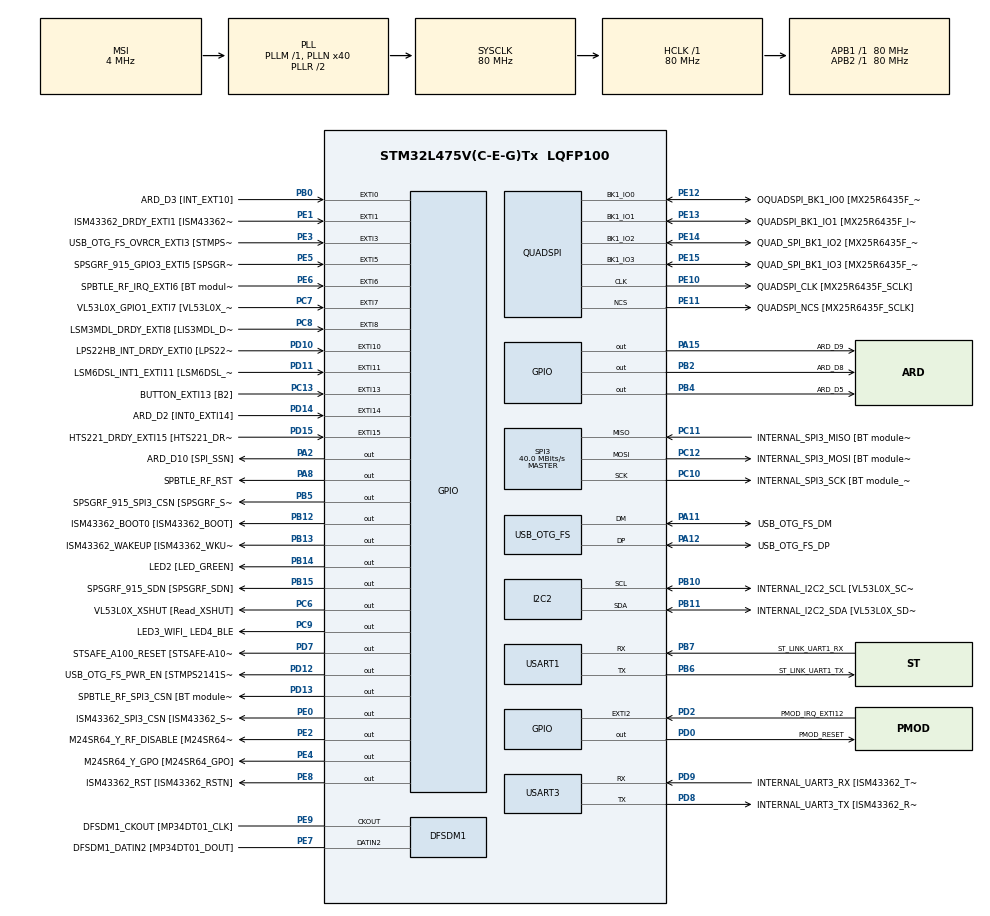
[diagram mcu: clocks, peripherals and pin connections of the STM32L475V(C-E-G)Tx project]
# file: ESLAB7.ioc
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Mcu.Family=STM32L4
Mcu.Name=STM32L475V(C-E-G)Tx
Mcu.Package=LQFP100
NVIC.EXTI15_10_IRQn=true\:0\:0\:false\:false\:true\:true\:true\:true
NVIC.EXTI9_5_IRQn=true\:0\:0\:false\:false\:true\:true\:true\:true
NVIC.PriorityGroup=NVIC_PRIORITYGROUP_4
PA0.GPIO_Label=ARD_D1 [UART4_TX]
PA0.Signal=UART4_TX
PA1.GPIO_Label=ARD_D0 [UART4_RX]
PA1.Signal=UART4_RX
PA10.GPIO_Label=USB_OTG_FS_ID
PA10.Signal=USB_OTG_FS_ID
PA11.GPIO_Label=USB_OTG_FS_DM
PA11.Mode=Device_Only
PA11.Signal=USB_OTG_FS_DM
PA12.GPIO_Label=USB_OTG_FS_DP
PA12.Mode=Device_Only
PA12.Signal=USB_OTG_FS_DP
PA13\ (JTMS-SWDIO).GPIO_Label=SYS_JTMS_SWDIO
PA13\ (JTMS-SWDIO).Mode=Serial_Wire
PA13\ (JTMS-SWDIO).Signal=SYS_JTMS-SWDIO
PA14\ (JTCK-SWCLK).GPIO_Label=SYS_JTCK_SWCLK
PA14\ (JTCK-SWCLK).Mode=Serial_Wire
PA14\ (JTCK-SWCLK).Signal=SYS_JTCK-SWCLK
PA15\ (JTDI).GPIO_Label=ARD_D9
PA15\ (JTDI).Signal=GPIO_Output
PA2.GPIO_Label=ARD_D10 [SPI_SSN]
PA2.Signal=GPIO_Output
PA3.GPIO_Label=ARD_D4
PA3.Signal=S_TIM2_CH4
PA4.GPIO_Label=ARD_D7
PA4.Signal=ADCx_IN9
PA5.GPIO_Label=ARD_D13 [SPI1_SCK]
PA5.Signal=SPI1_SCK
PA6.GPIO_Label=ARD_D12 [SPI1_MISO]
PA6.Signal=SPI1_MISO
PA7.GPIO_Label=ARD_D11 [SPI1_MOSI]
PA7.Signal=SPI1_MOSI
PA8.GPIO_Label=SPBTLE_RF_RST
PA8.Signal=GPIO_Output
PA9.GPIO_Label=USB_OTG_FS_VBUS [STMPS2141STR_OUT]
PA9.Signal=USB_OTG_FS_VBUS
PB0.GPIO_Label=ARD_D3 [INT_EXT10]
PB0.Signal=GPXTI0
PB1.GPIO_Label=ARD_D6 [ADC1_IN6]
PB1.Signal=ADCx_IN16
PB10.GPIO_Label=INTERNAL_I2C2_SCL [VL53L0X_SCL]
PB10.GPIO_Pu=GPIO_PULLUP
PB10.Mode=I2C
PB10.Signal=I2C2_SCL
PB11.GPIO_Label=INTERNAL_I2C2_SDA [VL53L0X_SDA]
PB11.GPIO_Pu=GPIO_PULLUP
PB11.Mode=I2C
PB11.Signal=I2C2_SDA
PB12.GPIO_Label=ISM43362_BOOT0 [ISM43362_BOOT]
PB12.Signal=GPIO_Output
PB13.GPIO_Label=ISM43362_WAKEUP [ISM43362_WKUP]
PB13.Signal=GPIO_Output
PB14.GPIO_Label=LED2 [LED_GREEN]
PB14.Signal=GPIO_Output
PB15.GPIO_Label=SPSGRF_915_SDN [SPSGRF_SDN]
PB15.Signal=GPIO_Output
PB2.GPIO_Label=ARD_D8
PB2.Signal=GPIO_Output
PB3\ (JTDO-TRACESWO).GPIO_Label=SYS_JTD0_SWO
PB3\ (JTDO-TRACESWO).Signal=SYS_JTDO-SWO
PB4\ (NJTRST).GPIO_Label=ARD_D5
PB4\ (NJTRST).Signal=GPIO_Output
PB5.GPIO_Label=SPSGRF_915_SPI3_CSN [SPSGRF_SPI_CS]
PB5.PinState=GPIO_PIN_SET
PB5.Signal=GPIO_Output
PB6.GPIO_Label=ST_LINK_UART1_TX
PB6.Mode=Asynchronous
PB6.Signal=USART1_TX
PB7.GPIO_Label=ST_LINK_UART1_RX
PB7.Mode=Asynchronous
PB7.Signal=USART1_RX
PB8.GPIO_Label=ARD_D15 [I2C1_SCL]
PB8.Signal=I2C1_SCL
PB9.GPIO_Label=ARD_D14 [I2C1_SDA]
PB9.Signal=I2C1_SDA
PC0.GPIO_Label=ARD_A5 [ADC]
PC0.Signal=ADCx_IN1
PC1.GPIO_Label=ARD_A4 [ADC]
PC1.Signal=ADCx_IN2
PC10.GPIO_Label=INTERNAL_SPI3_SCK [BT module_SPI_SCLK] [ISM43362_SCK]
PC10.Mode=Full_Duplex_Master
PC10.Signal=SPI3_SCK
PC11.GPIO_Label=INTERNAL_SPI3_MISO [BT module_SPI_MISO] [ISM43362_MISO]
PC11.Mode=Full_Duplex_Master
PC11.Signal=SPI3_MISO
PC12.GPIO_Label=INTERNAL_SPI3_MOSI [BT module_SPI_MOSI] [ISM43362_MOSI]
PC12.Mode=Full_Duplex_Master
PC12.Signal=SPI3_MOSI
PC13.GPIO_Label=BUTTON_EXTI13 [B2]
PC13.GPIO_ModeDefaultEXTI=GPIO_MODE_IT_FALLING
PC13.Signal=GPXTI13
PC14-OSC32_IN\ (PC14).Mode=LSE-External-Oscillator
PC14-OSC32_IN\ (PC14).Signal=RCC_OSC32_IN
PC15-OSC32_OUT\ (PC15).Mode=LSE-External-Oscillator
PC15-OSC32_OUT\ (PC15).Signal=RCC_OSC32_OUT
PC2.GPIO_Label=ARD_A3 [ADC]
PC2.Signal=ADCx_IN3
PC3.GPIO_Label=ARD_A2 [ADC]
PC3.Signal=ADCx_IN4
PC4.GPIO_Label=ARD_A1 [ADC]
PC4.Signal=ADCx_IN13
PC5.GPIO_Label=ARD_A0 [ADC]
PC5.Signal=ADCx_IN14
PC6.GPIO_Label=VL53L0X_XSHUT [Read_XSHUT]
PC6.Signal=GPIO_Output
PC7.GPIO_Label=VL53L0X_GPIO1_EXTI7 [VL53L0X_GPIO1]
PC7.Signal=GPXTI7
PC8.GPIO_Label=LSM3MDL_DRDY_EXTI8 [LIS3MDL_DRDY]
PC8.Signal=GPXTI8
PC9.GPIO_Label=LED3_WIFI_ LED4_BLE
PC9.Signal=GPIO_Output
PD0.GPIO_Label=PMOD_RESET
PD0.Signal=GPIO_Output
PD1.GPIO_Label=PMOD_SPI2_SCK
PD1.Signal=SPI2_SCK
PD10.GPIO_Label=LPS22HB_INT_DRDY_EXTI0 [LPS22HB_INT_DRDY] 
PD10.Signal=GPXTI10
PD11.GPIO_Label=LSM6DSL_INT1_EXTI11 [LSM6DSL_INT1]
PD11.Signal=GPXTI11
PD12.GPIO_Label=USB_OTG_FS_PWR_EN [STMPS2141STR_EN]
PD12.Signal=GPIO_Output
PD13.GPIO_Label=SPBTLE_RF_SPI3_CSN [BT module_SPI_CS]
PD13.PinState=GPIO_PIN_SET
PD13.Signal=GPIO_Output
PD14.GPIO_Label=ARD_D2 [INT0_EXTI14]
PD14.Signal=GPXTI14
PD15.GPIO_Label=HTS221_DRDY_EXTI15 [HTS221_DRDY]
PD15.Signal=GPXTI15
PD2.GPIO_Label=PMOD_IRQ_EXTI12
PD2.Signal=GPXTI2
PD3.GPIO_Label=PMOD_UART2_CTS
PD3.Signal=USART2_CTS
PD4.GPIO_Label=PMOD_UART2_RTS
PD4.Signal=USART2_RTS
PD5.GPIO_Label=PMOD_UART2_TX
PD5.Signal=USART2_TX
PD6.GPIO_Label=PMOD_UART2_RX
PD6.Signal=USART2_RX
PD7.GPIO_Label=STSAFE_A100_RESET [STSAFE-A100_RESET]
PD7.Signal=GPIO_Output
PD8.GPIO_Label=INTERNAL_UART3_TX [ISM43362_RX]
PD8.Mode=Asynchronous
PD8.Signal=USART3_TX
PD9.GPIO_Label=INTERNAL_UART3_RX [ISM43362_TX]
PD9.Mode=Asynchronous
PD9.Signal=USART3_RX
PE0.GPIO_Label=ISM43362_SPI3_CSN [ISM43362_SSN]
PE0.PinState=GPIO_PIN_SET
PE0.Signal=GPIO_Output
PE1.GPIO_Label=ISM43362_DRDY_EXTI1 [ISM43362_DATARDY]
PE1.Signal=GPXTI1
PE10.GPIO_Label=QUADSPI_CLK [MX25R6435F_SCLK]
PE10.Mode=Single Bank
PE10.Signal=QUADSPI_CLK
PE11.GPIO_Label=QUADSPI_NCS [MX25R6435F_SCLK]
PE11.Mode=Single Bank
PE11.Signal=QUADSPI_NCS
PE12.GPIO_Label=OQUADSPI_BK1_IO0 [MX25R6435F_IO0]
PE12.Mode=Single Bank
PE12.Signal=QUADSPI_BK1_IO0
PE13.GPIO_Label=QUADSPI_BK1_IO1 [MX25R6435F_IO1]
PE13.Mode=Single Bank
PE13.Signal=QUADSPI_BK1_IO1
PE14.GPIO_Label=QUAD_SPI_BK1_IO2 [MX25R6435F_IO2]
PE14.Mode=Single Bank
PE14.Signal=QUADSPI_BK1_IO2
PE15.GPIO_Label=QUAD_SPI_BK1_IO3 [MX25R6435F_IO3]
PE15.Mode=Single Bank
PE15.Signal=QUADSPI_BK1_IO3
PE2.GPIO_Label=M24SR64_Y_RF_DISABLE [M24SR64_RFDIS]
PE2.Signal=GPIO_Output
PE3.GPIO_Label=USB_OTG_FS_OVRCR_EXTI3 [STMPS2141STR_FAULT]
PE3.Signal=GPXTI3
PE4.GPIO_Label=M24SR64_Y_GPO [M24SR64_GPO]
PE4.Signal=GPIO_Output
PE5.GPIO_Label=SPSGRF_915_GPIO3_EXTI5 [SPSGRF_GPIO_3]
PE5.Signal=GPXTI5
PE6.GPIO_Label=SPBTLE_RF_IRQ_EXTI6 [BT module_SPI_IRQ]
PE6.Signal=GPXTI6
PE7.GPIO_Label=DFSDM1_DATIN2 [MP34DT01_DOUT]
PE7.Signal=S_DATAIN2DFSDM1
PE8.GPIO_Label=ISM43362_RST [ISM43362_RSTN]
PE8.Signal=GPIO_Output
PE9.GPIO_Label=DFSDM1_CKOUT [MP34DT01_CLK]
PE9.Signal=S_CKOUTDFSDM1
ProjectManager.HeapSize=0x200
ProjectManager.StackSize=0x400
ProjectManager.TargetToolchain=STM32CubeIDE
QUADSPI.ClockPrescaler=2
QUADSPI.FifoThreshold=4
QUADSPI.FlashSize=23
QUADSPI.SampleShifting=QSPI_SAMPLE_SHIFTING_HALFCYCLE
RCC.ADCFreq_Value=48000000
RCC.AHBFreq_Value=80000000
RCC.APB1Freq_Value=80000000
RCC.APB1TimFreq_Value=80000000
RCC.APB2Freq_Value=80000000
RCC.APB2TimFreq_Value=80000000
RCC.CortexFreq_Value=80000000
RCC.HCLKFreq_Value=80000000
RCC.HSE_VALUE=8000000
RCC.HSI_VALUE=16000000
RCC.MSI_VALUE=4000000
RCC.PLLN=40
RCC.PLLSAI1N=24
RCC.SYSCLKFreq_VALUE=80000000
RCC.SYSCLKSource=RCC_SYSCLKSOURCE_PLLCLK
RCC.USBFreq_Value=48000000
RCC.VCOOutputFreq_Value=160000000
SH.ADCx_IN1.0=ADC1_IN1
SH.ADCx_IN13.0=ADC1_IN13
SH.ADCx_IN14.0=ADC1_IN14
SH.ADCx_IN16.0=ADC1_IN16
SH.ADCx_IN2.0=ADC1_IN2
SH.ADCx_IN3.0=ADC1_IN3
SH.ADCx_IN4.0=ADC1_IN4
SH.ADCx_IN9.0=ADC1_IN9
SH.S_CKOUTDFSDM1.0=DFSDM1_CKOUT,CKOUT
SH.S_CKOUTDFSDM1.1=DFSDM1_CKOUT,PDM_SPI_Input_from_ch12_and_Internal_Clock
SH.S_DATAIN2DFSDM1.0=DFSDM1_DATIN2,PDM_SPI_Input_from_ch12_and_Internal_Clock
SH.S_TIM2_CH4.0=TIM2_CH4
SPI3.CalculateBaudRate=40.0 MBits/s
SPI3.Direction=SPI_DIRECTION_2LINES
SPI3.Mode=SPI_MODE_MASTER
SPI3.VirtualType=VM_MASTER
USART1.VirtualMode-Asynchronous=VM_ASYNC
USART3.VirtualMode-Asynchronous=VM_ASYNC
USB_OTG_FS.VirtualMode=Device_Only
board=B-L475E-IOT01A1

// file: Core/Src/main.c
/* USER CODE BEGIN Header */
/**
  ******************************************************************************
  * @file           : main.c
  * @brief          : Main program body
  ******************************************************************************
  * @attention
  *
  * Copyright (c) 2025 STMicroelectronics.
  * All rights reserved.
  *
  * This software is licensed under terms that can be found in the LICENSE file
  * in the root directory of this software component.
  * If no LICENSE file comes with this software, it is provided AS-IS.
  *
  ******************************************************************************
  */
/* USER CODE END Header */
#include "main.h"

/* USER CODE BEGIN Includes */
#include "stm32l475e_iot01.h"
#include "stm32l475e_iot01_tsensor.h"
#include "stm32l475e_iot01_accelero.h"
#include <math.h>
//#include "arm_math.h"
#include "math_helper.h"
/* USER CODE END Includes */

/* USER CODE BEGIN PD */
#define TEST_LENGTH_SAMPLES  320
#define SNR_THRESHOLD_F32    140.0f
#define BLOCK_SIZE            32
#define NUM_TAPS              29
#define SAMPLING_RATE         100
#define DATA_PER_LINE         2
/* USER CODE END PD */

DFSDM_Channel_HandleTypeDef hdfsdm1_channel1;

I2C_HandleTypeDef hi2c2;

QSPI_HandleTypeDef hqspi;

SPI_HandleTypeDef hspi3;

UART_HandleTypeDef huart1;
UART_HandleTypeDef huart3;

PCD_HandleTypeDef hpcd_USB_OTG_FS;

/* USER CODE BEGIN PV */
//float temp_value = 0;  // Measured temperature value
int16_t temp_xyz[3] = {0};  // Measured acceleration value
float32_t input_block_x[BLOCK_SIZE] = {0};  // A block of measured acceleration x value
float32_t input_block_y[BLOCK_SIZE] = {0};  // A block of measured acceleration y value
float32_t input_block_z[BLOCK_SIZE] = {0};  // A block of measured acceleration z value
float32_t output_block_x[BLOCK_SIZE] = {0};  // A block of filtered acceleration x value
float32_t output_block_y[BLOCK_SIZE] = {0};  // A block of filtered acceleration y value
float32_t output_block_z[BLOCK_SIZE] = {0};  // A block of filtered acceleration z value
char str_tmp[100] = ""; // Formatted message to display the temperature value
//char data_tmp[20] = ""; // Formatted message to display the acceleration value
//uint8_t msg1[] = "****** Temperature values measurement ******\n\n\r";
uint8_t msg1[] = "****** Acceleration values measurement ******\n\r";
//uint8_t msg2[] = "=====> Initialize Temperature sensor HTS221 \r\n";
uint8_t msg2[] = "=====> Initialize Acceleration sensor LSM6DSL \r\n";
//uint8_t msg3[] = "=====> Temperature sensor HTS221 initialized \r\n ";
uint8_t msg3[] = "=====> Acceleration sensor LSM6DSL initialized \r\n ";
uint8_t msg4[] = "\n\n\r****** Sample signal filtering ******\n\r";
uint8_t msg_success[] = "=====> Filtering succeeded \r\n ";
uint8_t msg_failure[] = "=====> Filtering failed \r\n ";
uint8_t msg5[] = "\n\n\r****** Sensor data filtering ******\n\r";
uint8_t msg_output1[] = "\n\r*** measured acceleration values {\"x\",\"y\",\"z\"} ***\n\r";
uint8_t msg_output2[] = "\n\r*** filtered acceleration values {\"x\",\"y\",\"z\"} ***\n\r";
uint8_t msg_nextline[] = "\n\r";
uint32_t sample_time = 1000/(SAMPLING_RATE);  // 1000ms/SAMPLING_RATE=10ms
uint32_t inblock_it = (BLOCK_SIZE)/(DATA_PER_LINE);  //iterations to print all data in one block
/* The input signal and reference output (computed with MATLAB) are defined externally in arm_fir_lpf_data.c. */
extern float32_t testInput_f32_1kHz_15kHz[TEST_LENGTH_SAMPLES];
extern float32_t refOutput[TEST_LENGTH_SAMPLES];
/* Declare Test output buffer */
static float32_t testOutput[TEST_LENGTH_SAMPLES];
/* Declare State buffer of size (numTaps + blockSize - 1) */
static float32_t firStateF32[BLOCK_SIZE + NUM_TAPS - 1];
static float32_t firXF32[BLOCK_SIZE + NUM_TAPS - 1];
static float32_t firYF32[BLOCK_SIZE + NUM_TAPS - 1];
static float32_t firZF32[BLOCK_SIZE + NUM_TAPS - 1];
/*  FIR Coefficients buffer generated using fir1() MATLAB function. fir1(28, 6/24) */
const float32_t firCoeffs32[NUM_TAPS] = {
  -0.0018225230f, -0.0015879294f, +0.0000000000f, +0.0036977508f, +0.0080754303f, +0.0085302217f, -0.0000000000f, -0.0173976984f,
  -0.0341458607f, -0.0333591565f, +0.0000000000f, +0.0676308395f, +0.1522061835f, +0.2229246956f, +0.2504960933f, +0.2229246956f,
  +0.1522061835f, +0.0676308395f, +0.0000000000f, -0.0333591565f, -0.0341458607f, -0.0173976984f, -0.0000000000f, +0.0085302217f,
  +0.0080754303f, +0.0036977508f, +0.0000000000f, -0.0015879294f, -0.0018225230f
};
/* Global variables for FIR LPF Example */
uint32_t blockSize = BLOCK_SIZE;
uint32_t numBlocks = TEST_LENGTH_SAMPLES/BLOCK_SIZE;
float32_t  snr;
/* USER CODE END PV */

void SystemClock_Config(void);
static void MX_GPIO_Init(void);
static void MX_DFSDM1_Init(void);
static void MX_I2C2_Init(void);
static void MX_QUADSPI_Init(void);
static void MX_SPI3_Init(void);
static void MX_USART1_UART_Init(void);
static void MX_USART3_UART_Init(void);
static void MX_USB_OTG_FS_PCD_Init(void);

int main(void)
{

  /* MCU Configuration--------------------------------------------------------*/

  /* Reset of all peripherals, Initializes the Flash interface and the Systick. */
  HAL_Init();

  /* Configure the system clock */
  SystemClock_Config();

  /* Initialize all configured peripherals */
  MX_GPIO_Init();
  MX_DFSDM1_Init();
  MX_I2C2_Init();
  MX_QUADSPI_Init();
  MX_SPI3_Init();
  MX_USART1_UART_Init();
  MX_USART3_UART_Init();
  MX_USB_OTG_FS_PCD_Init();
  /* USER CODE BEGIN 2 */

  //uint8_t Test[] = "Hello World !!!\r\n"; //Data to send
  //HAL_UART_Transmit(&huart1,Test,sizeof(Test),10);// Sending in normal mode
  //HAL_Delay(1000);

  HAL_UART_Transmit(&huart1,msg1,sizeof(msg1),1000);
  HAL_UART_Transmit(&huart1,msg2,sizeof(msg2),1000);
  //BSP_TSENSOR_Init();
  BSP_ACCELERO_Init();
  HAL_UART_Transmit(&huart1,msg3,sizeof(msg3),1000);

  uint32_t i;
  arm_fir_instance_f32 S;
  arm_status status;
  float32_t  *inputF32, *outputF32;

  /* Initialize input and output buffer pointers */
  inputF32 = &testInput_f32_1kHz_15kHz[0];
  outputF32 = &testOutput[0];

  /* Call FIR init function to initialize the instance structure */
  arm_fir_init_f32(&S, NUM_TAPS, (float32_t *)&firCoeffs32[0], &firStateF32[0], blockSize);

  /* Call the FIR process function for every blockSize samples */
  HAL_UART_Transmit(&huart1,msg4,sizeof(msg4),1000);
  for(i=0; i < numBlocks; i++)
  {
    arm_fir_f32(&S, inputF32 + (i * blockSize), outputF32 + (i * blockSize), blockSize);
  }

  /* Compare the generated output against the reference output computed in MATLAB. */

  snr = arm_snr_f32(&refOutput[0], &testOutput[0], TEST_LENGTH_SAMPLES);

  if (snr < SNR_THRESHOLD_F32)
  {
    status = ARM_MATH_TEST_FAILURE;
    HAL_UART_Transmit(&huart1,msg_failure,sizeof(msg_failure),1000);
  }
  else
  {
    status = ARM_MATH_SUCCESS;
    HAL_UART_Transmit(&huart1,msg_success,sizeof(msg_success),1000);
  }

  HAL_UART_Transmit(&huart1,msg5,sizeof(msg5),1000);
  uint32_t j;  // for loop variable
  arm_fir_instance_f32 Sx, Sy, Sz;
  arm_fir_init_f32(&Sx, NUM_TAPS, (float32_t *)&firCoeffs32[0], &firXF32[0], blockSize);
  arm_fir_init_f32(&Sy, NUM_TAPS, (float32_t *)&firCoeffs32[0], &firYF32[0], blockSize);
  arm_fir_init_f32(&Sz, NUM_TAPS, (float32_t *)&firCoeffs32[0], &firZF32[0], blockSize);
  /* USER CODE END 2 */

  /* Infinite loop */
  while (1)
  {

    /* USER CODE BEGIN 3 */

	//temp_value = BSP_TSENSOR_ReadTemp();
	//int tmpInt1 = temp_value;
	//float tmpFrac = temp_value - tmpInt1;
	//int tmpInt2 = trunc(tmpFrac * 100);
	//snprintf(str_tmp,100," TEMPERATURE = %d.%02d\n\r", tmpInt1, tmpInt2);
	//HAL_UART_Transmit(&huart1,( uint8_t *)str_tmp,sizeof(str_tmp),1000);

	//BSP_ACCELERO_AccGetXYZ(temp_xyz);
	//snprintf(str_tmp,100," ACCELERATION = {\"x\":%d,\"y\":%d,\"z\":%d}\n\r", temp_xyz[0], temp_xyz[1], temp_xyz[2]);
	//HAL_UART_Transmit(&huart1,( uint8_t *)str_tmp,sizeof(str_tmp),1000);
	//HAL_Delay(1000);

	for(i=0; i < BLOCK_SIZE; i++)
	{
		BSP_ACCELERO_AccGetXYZ(temp_xyz);
		input_block_x[i] = (float32_t)temp_xyz[0];
		input_block_y[i] = (float32_t)temp_xyz[1];
		input_block_z[i] = (float32_t)temp_xyz[2];
		HAL_Delay(sample_time);
	}
	arm_fir_f32(&Sx, &input_block_x[0], &output_block_x[0], blockSize);
	arm_fir_f32(&Sy, &input_block_y[0], &output_block_y[0], blockSize);
	arm_fir_f32(&Sz, &input_block_z[0], &output_block_z[0], blockSize);
	HAL_UART_Transmit(&huart1,msg_output1,sizeof(msg_output1),100);
	for(i=0; i < inblock_it; i++)
	{
		for(j=0; j < DATA_PER_LINE; j++)
		{
			snprintf(str_tmp,100,"{%.2lf,%.2lf,%.2lf} ", input_block_x[i*(DATA_PER_LINE)+j], input_block_y[i*(DATA_PER_LINE)+j], input_block_z[i*(DATA_PER_LINE)+j]);
			HAL_UART_Transmit(&huart1,( uint8_t *)str_tmp,sizeof(str_tmp),100);
		}
		HAL_UART_Transmit(&huart1,msg_nextline,sizeof(msg_nextline),100);
	}
	HAL_UART_Transmit(&huart1,msg_output2,sizeof(msg_output2),100);
	for(i=0; i < inblock_it; i++)
	{
		for(j=0; j < DATA_PER_LINE; j++)
		{
			snprintf(str_tmp,100,"{%.2lf,%.2lf,%.2lf} ", output_block_x[i*(DATA_PER_LINE)+j], output_block_y[i*(DATA_PER_LINE)+j], output_block_z[i*(DATA_PER_LINE)+j]);
			HAL_UART_Transmit(&huart1,( uint8_t *)str_tmp,sizeof(str_tmp),100);
		}
		HAL_UART_Transmit(&huart1,msg_nextline,sizeof(msg_nextline),100);
	}
  }
  /* USER CODE END 3 */
}

void SystemClock_Config(void)
{
  RCC_OscInitTypeDef RCC_OscInitStruct = {0};
  RCC_ClkInitTypeDef RCC_ClkInitStruct = {0};

  /** Configure the main internal regulator output voltage
  */
  if (HAL_PWREx_ControlVoltageScaling(PWR_REGULATOR_VOLTAGE_SCALE1) != HAL_OK)
  {
    Error_Handler();
  }

  /** Configure LSE Drive Capability
  */
  HAL_PWR_EnableBkUpAccess();
  __HAL_RCC_LSEDRIVE_CONFIG(RCC_LSEDRIVE_LOW);

  /** Initializes the RCC Oscillators according to the specified parameters
  * in the RCC_OscInitTypeDef structure.
  */
  RCC_OscInitStruct.OscillatorType = RCC_OSCILLATORTYPE_LSE|RCC_OSCILLATORTYPE_MSI;
  RCC_OscInitStruct.LSEState = RCC_LSE_ON;
  RCC_OscInitStruct.MSIState = RCC_MSI_ON;
  RCC_OscInitStruct.MSICalibrationValue = 0;
  RCC_OscInitStruct.MSIClockRange = RCC_MSIRANGE_6;
  RCC_OscInitStruct.PLL.PLLState = RCC_PLL_ON;
  RCC_OscInitStruct.PLL.PLLSource = RCC_PLLSOURCE_MSI;
  RCC_OscInitStruct.PLL.PLLM = 1;
  RCC_OscInitStruct.PLL.PLLN = 40;
  RCC_OscInitStruct.PLL.PLLP = RCC_PLLP_DIV7;
  RCC_OscInitStruct.PLL.PLLQ = RCC_PLLQ_DIV2;
  RCC_OscInitStruct.PLL.PLLR = RCC_PLLR_DIV2;
  if (HAL_RCC_OscConfig(&RCC_OscInitStruct) != HAL_OK)
  {
    Error_Handler();
  }

  /** Initializes the CPU, AHB and APB buses clocks
  */
  RCC_ClkInitStruct.ClockType = RCC_CLOCKTYPE_HCLK|RCC_CLOCKTYPE_SYSCLK
                              |RCC_CLOCKTYPE_PCLK1|RCC_CLOCKTYPE_PCLK2;
  RCC_ClkInitStruct.SYSCLKSource = RCC_SYSCLKSOURCE_PLLCLK;
  RCC_ClkInitStruct.AHBCLKDivider = RCC_SYSCLK_DIV1;
  RCC_ClkInitStruct.APB1CLKDivider = RCC_HCLK_DIV1;
  RCC_ClkInitStruct.APB2CLKDivider = RCC_HCLK_DIV1;

  if (HAL_RCC_ClockConfig(&RCC_ClkInitStruct, FLASH_LATENCY_4) != HAL_OK)
  {
    Error_Handler();
  }

  /** Enable MSI Auto calibration
  */
  HAL_RCCEx_EnableMSIPLLMode();
}

static void MX_DFSDM1_Init(void)
{

  hdfsdm1_channel1.Instance = DFSDM1_Channel1;
  hdfsdm1_channel1.Init.OutputClock.Activation = ENABLE;
  hdfsdm1_channel1.Init.OutputClock.Selection = DFSDM_CHANNEL_OUTPUT_CLOCK_SYSTEM;
  hdfsdm1_channel1.Init.OutputClock.Divider = 2;
  hdfsdm1_channel1.Init.Input.Multiplexer = DFSDM_CHANNEL_EXTERNAL_INPUTS;
  hdfsdm1_channel1.Init.Input.DataPacking = DFSDM_CHANNEL_STANDARD_MODE;
  hdfsdm1_channel1.Init.Input.Pins = DFSDM_CHANNEL_FOLLOWING_CHANNEL_PINS;
  hdfsdm1_channel1.Init.SerialInterface.Type = DFSDM_CHANNEL_SPI_RISING;
  hdfsdm1_channel1.Init.SerialInterface.SpiClock = DFSDM_CHANNEL_SPI_CLOCK_INTERNAL;
  hdfsdm1_channel1.Init.Awd.FilterOrder = DFSDM_CHANNEL_FASTSINC_ORDER;
  hdfsdm1_channel1.Init.Awd.Oversampling = 1;
  hdfsdm1_channel1.Init.Offset = 0;
  hdfsdm1_channel1.Init.RightBitShift = 0x00;
  if (HAL_DFSDM_ChannelInit(&hdfsdm1_channel1) != HAL_OK)
  {
    Error_Handler();
  }

}

static void MX_I2C2_Init(void)
{

  hi2c2.Instance = I2C2;
  hi2c2.Init.Timing = 0x00000E14;
  hi2c2.Init.OwnAddress1 = 0;
  hi2c2.Init.AddressingMode = I2C_ADDRESSINGMODE_7BIT;
  hi2c2.Init.DualAddressMode = I2C_DUALADDRESS_DISABLE;
  hi2c2.Init.OwnAddress2 = 0;
  hi2c2.Init.OwnAddress2Masks = I2C_OA2_NOMASK;
  hi2c2.Init.GeneralCallMode = I2C_GENERALCALL_DISABLE;
  hi2c2.Init.NoStretchMode = I2C_NOSTRETCH_DISABLE;
  if (HAL_I2C_Init(&hi2c2) != HAL_OK)
  {
    Error_Handler();
  }

  /** Configure Analogue filter
  */
  if (HAL_I2CEx_ConfigAnalogFilter(&hi2c2, I2C_ANALOGFILTER_ENABLE) != HAL_OK)
  {
    Error_Handler();
  }

  /** Configure Digital filter
  */
  if (HAL_I2CEx_ConfigDigitalFilter(&hi2c2, 0) != HAL_OK)
  {
    Error_Handler();
  }

}

static void MX_QUADSPI_Init(void)
{

  /* QUADSPI parameter configuration*/
  hqspi.Instance = QUADSPI;
  hqspi.Init.ClockPrescaler = 2;
  hqspi.Init.FifoThreshold = 4;
  hqspi.Init.SampleShifting = QSPI_SAMPLE_SHIFTING_HALFCYCLE;
  hqspi.Init.FlashSize = 23;
  hqspi.Init.ChipSelectHighTime = QSPI_CS_HIGH_TIME_1_CYCLE;
  hqspi.Init.ClockMode = QSPI_CLOCK_MODE_0;
  if (HAL_QSPI_Init(&hqspi) != HAL_OK)
  {
    Error_Handler();
  }

}

static void MX_SPI3_Init(void)
{

  /* SPI3 parameter configuration*/
  hspi3.Instance = SPI3;
  hspi3.Init.Mode = SPI_MODE_MASTER;
  hspi3.Init.Direction = SPI_DIRECTION_2LINES;
  hspi3.Init.DataSize = SPI_DATASIZE_4BIT;
  hspi3.Init.CLKPolarity = SPI_POLARITY_LOW;
  hspi3.Init.CLKPhase = SPI_PHASE_1EDGE;
  hspi3.Init.NSS = SPI_NSS_SOFT;
  hspi3.Init.BaudRatePrescaler = SPI_BAUDRATEPRESCALER_2;
  hspi3.Init.FirstBit = SPI_FIRSTBIT_MSB;
  hspi3.Init.TIMode = SPI_TIMODE_DISABLE;
  hspi3.Init.CRCCalculation = SPI_CRCCALCULATION_DISABLE;
  hspi3.Init.CRCPolynomial = 7;
  hspi3.Init.CRCLength = SPI_CRC_LENGTH_DATASIZE;
  hspi3.Init.NSSPMode = SPI_NSS_PULSE_ENABLE;
  if (HAL_SPI_Init(&hspi3) != HAL_OK)
  {
    Error_Handler();
  }

}

static void MX_USART1_UART_Init(void)
{

  huart1.Instance = USART1;
  huart1.Init.BaudRate = 115200;
  huart1.Init.WordLength = UART_WORDLENGTH_8B;
  huart1.Init.StopBits = UART_STOPBITS_1;
  huart1.Init.Parity = UART_PARITY_NONE;
  huart1.Init.Mode = UART_MODE_TX_RX;
  huart1.Init.HwFlowCtl = UART_HWCONTROL_NONE;
  huart1.Init.OverSampling = UART_OVERSAMPLING_16;
  huart1.Init.OneBitSampling = UART_ONE_BIT_SAMPLE_DISABLE;
  huart1.AdvancedInit.AdvFeatureInit = UART_ADVFEATURE_NO_INIT;
  if (HAL_UART_Init(&huart1) != HAL_OK)
  {
    Error_Handler();
  }

}

static void MX_USART3_UART_Init(void)
{

  huart3.Instance = USART3;
  huart3.Init.BaudRate = 115200;
  huart3.Init.WordLength = UART_WORDLENGTH_8B;
  huart3.Init.StopBits = UART_STOPBITS_1;
  huart3.Init.Parity = UART_PARITY_NONE;
  huart3.Init.Mode = UART_MODE_TX_RX;
  huart3.Init.HwFlowCtl = UART_HWCONTROL_NONE;
  huart3.Init.OverSampling = UART_OVERSAMPLING_16;
  huart3.Init.OneBitSampling = UART_ONE_BIT_SAMPLE_DISABLE;
  huart3.AdvancedInit.AdvFeatureInit = UART_ADVFEATURE_NO_INIT;
  if (HAL_UART_Init(&huart3) != HAL_OK)
  {
    Error_Handler();
  }

}

static void MX_USB_OTG_FS_PCD_Init(void)
{

  hpcd_USB_OTG_FS.Instance = USB_OTG_FS;
  hpcd_USB_OTG_FS.Init.dev_endpoints = 6;
  hpcd_USB_OTG_FS.Init.speed = PCD_SPEED_FULL;
  hpcd_USB_OTG_FS.Init.phy_itface = PCD_PHY_EMBEDDED;
  hpcd_USB_OTG_FS.Init.Sof_enable = DISABLE;
  hpcd_USB_OTG_FS.Init.low_power_enable = DISABLE;
  hpcd_USB_OTG_FS.Init.lpm_enable = DISABLE;
  hpcd_USB_OTG_FS.Init.battery_charging_enable = DISABLE;
  hpcd_USB_OTG_FS.Init.use_dedicated_ep1 = DISABLE;
  hpcd_USB_OTG_FS.Init.vbus_sensing_enable = DISABLE;
  if (HAL_PCD_Init(&hpcd_USB_OTG_FS) != HAL_OK)
  {
    Error_Handler();
  }

}

static void MX_GPIO_Init(void)
{
  GPIO_InitTypeDef GPIO_InitStruct = {0};

  /* GPIO Ports Clock Enable */
  __HAL_RCC_GPIOE_CLK_ENABLE();
  __HAL_RCC_GPIOC_CLK_ENABLE();
  __HAL_RCC_GPIOA_CLK_ENABLE();
  __HAL_RCC_GPIOB_CLK_ENABLE();
  __HAL_RCC_GPIOD_CLK_ENABLE();

  /*Configure GPIO pin Output Level */
  HAL_GPIO_WritePin(GPIOE, M24SR64_Y_RF_DISABLE_Pin|M24SR64_Y_GPO_Pin|ISM43362_RST_Pin, GPIO_PIN_RESET);

  /*Configure GPIO pin Output Level */
  HAL_GPIO_WritePin(GPIOA, ARD_D10_Pin|SPBTLE_RF_RST_Pin|ARD_D9_Pin, GPIO_PIN_RESET);

  /*Configure GPIO pin Output Level */
  HAL_GPIO_WritePin(GPIOB, ARD_D8_Pin|ISM43362_BOOT0_Pin|ISM43362_WAKEUP_Pin|LED2_Pin
                          |SPSGRF_915_SDN_Pin|ARD_D5_Pin, GPIO_PIN_RESET);

  /*Configure GPIO pin Output Level */
  HAL_GPIO_WritePin(GPIOD, USB_OTG_FS_PWR_EN_Pin|PMOD_RESET_Pin|STSAFE_A100_RESET_Pin, GPIO_PIN_RESET);

  /*Configure GPIO pin Output Level */
  HAL_GPIO_WritePin(SPBTLE_RF_SPI3_CSN_GPIO_Port, SPBTLE_RF_SPI3_CSN_Pin, GPIO_PIN_SET);

  /*Configure GPIO pin Output Level */
  HAL_GPIO_WritePin(GPIOC, VL53L0X_XSHUT_Pin|LED3_WIFI__LED4_BLE_Pin, GPIO_PIN_RESET);

  /*Configure GPIO pin Output Level */
  HAL_GPIO_WritePin(SPSGRF_915_SPI3_CSN_GPIO_Port, SPSGRF_915_SPI3_CSN_Pin, GPIO_PIN_SET);

  /*Configure GPIO pin Output Level */
  HAL_GPIO_WritePin(ISM43362_SPI3_CSN_GPIO_Port, ISM43362_SPI3_CSN_Pin, GPIO_PIN_SET);

  /*Configure GPIO pins : M24SR64_Y_RF_DISABLE_Pin M24SR64_Y_GPO_Pin ISM43362_RST_Pin ISM43362_SPI3_CSN_Pin */
  GPIO_InitStruct.Pin = M24SR64_Y_RF_DISABLE_Pin|M24SR64_Y_GPO_Pin|ISM43362_RST_Pin|ISM43362_SPI3_CSN_Pin;
  GPIO_InitStruct.Mode = GPIO_MODE_OUTPUT_PP;
  GPIO_InitStruct.Pull = GPIO_NOPULL;
  GPIO_InitStruct.Speed = GPIO_SPEED_FREQ_LOW;
  HAL_GPIO_Init(GPIOE, &GPIO_InitStruct);

  /*Configure GPIO pins : USB_OTG_FS_OVRCR_EXTI3_Pin SPSGRF_915_GPIO3_EXTI5_Pin SPBTLE_RF_IRQ_EXTI6_Pin ISM43362_DRDY_EXTI1_Pin */
  GPIO_InitStruct.Pin = USB_OTG_FS_OVRCR_EXTI3_Pin|SPSGRF_915_GPIO3_EXTI5_Pin|SPBTLE_RF_IRQ_EXTI6_Pin|ISM43362_DRDY_EXTI1_Pin;
  GPIO_InitStruct.Mode = GPIO_MODE_IT_RISING;
  GPIO_InitStruct.Pull = GPIO_NOPULL;
  HAL_GPIO_Init(GPIOE, &GPIO_InitStruct);

  /*Configure GPIO pin : BUTTON_EXTI13_Pin */
  GPIO_InitStruct.Pin = BUTTON_EXTI13_Pin;
  GPIO_InitStruct.Mode = GPIO_MODE_IT_FALLING;
  GPIO_InitStruct.Pull = GPIO_NOPULL;
  HAL_GPIO_Init(BUTTON_EXTI13_GPIO_Port, &GPIO_InitStruct);

  /*Configure GPIO pins : ARD_A5_Pin ARD_A4_Pin ARD_A3_Pin ARD_A2_Pin
                           ARD_A1_Pin ARD_A0_Pin */
  GPIO_InitStruct.Pin = ARD_A5_Pin|ARD_A4_Pin|ARD_A3_Pin|ARD_A2_Pin
                          |ARD_A1_Pin|ARD_A0_Pin;
  GPIO_InitStruct.Mode = GPIO_MODE_ANALOG_ADC_CONTROL;
  GPIO_InitStruct.Pull = GPIO_NOPULL;
  HAL_GPIO_Init(GPIOC, &GPIO_InitStruct);

  /*Configure GPIO pins : ARD_D1_Pin ARD_D0_Pin */
  GPIO_InitStruct.Pin = ARD_D1_Pin|ARD_D0_Pin;
  GPIO_InitStruct.Mode = GPIO_MODE_AF_PP;
  GPIO_InitStruct.Pull = GPIO_NOPULL;
  GPIO_InitStruct.Speed = GPIO_SPEED_FREQ_VERY_HIGH;
  GPIO_InitStruct.Alternate = GPIO_AF8_UART4;
  HAL_GPIO_Init(GPIOA, &GPIO_InitStruct);

  /*Configure GPIO pins : ARD_D10_Pin SPBTLE_RF_RST_Pin ARD_D9_Pin */
  GPIO_InitStruct.Pin = ARD_D10_Pin|SPBTLE_RF_RST_Pin|ARD_D9_Pin;
  GPIO_InitStruct.Mode = GPIO_MODE_OUTPUT_PP;
  GPIO_InitStruct.Pull = GPIO_NOPULL;
  GPIO_InitStruct.Speed = GPIO_SPEED_FREQ_LOW;
  HAL_GPIO_Init(GPIOA, &GPIO_InitStruct);

  /*Configure GPIO pin : ARD_D4_Pin */
  GPIO_InitStruct.Pin = ARD_D4_Pin;
  GPIO_InitStruct.Mode = GPIO_MODE_AF_PP;
  GPIO_InitStruct.Pull = GPIO_NOPULL;
  GPIO_InitStruct.Speed = GPIO_SPEED_FREQ_LOW;
  GPIO_InitStruct.Alternate = GPIO_AF1_TIM2;
  HAL_GPIO_Init(ARD_D4_GPIO_Port, &GPIO_InitStruct);

  /*Configure GPIO pin : ARD_D7_Pin */
  GPIO_InitStruct.Pin = ARD_D7_Pin;
  GPIO_InitStruct.Mode = GPIO_MODE_ANALOG_ADC_CONTROL;
  GPIO_InitStruct.Pull = GPIO_NOPULL;
  HAL_GPIO_Init(ARD_D7_GPIO_Port, &GPIO_InitStruct);

  /*Configure GPIO pins : ARD_D13_Pin ARD_D12_Pin ARD_D11_Pin */
  GPIO_InitStruct.Pin = ARD_D13_Pin|ARD_D12_Pin|ARD_D11_Pin;
  GPIO_InitStruct.Mode = GPIO_MODE_AF_PP;
  GPIO_InitStruct.Pull = GPIO_NOPULL;
  GPIO_InitStruct.Speed = GPIO_SPEED_FREQ_VERY_HIGH;
  GPIO_InitStruct.Alternate = GPIO_AF5_SPI1;
  HAL_GPIO_Init(GPIOA, &GPIO_InitStruct);

  /*Configure GPIO pin : ARD_D3_Pin */
  GPIO_InitStruct.Pin = ARD_D3_Pin;
  GPIO_InitStruct.Mode = GPIO_MODE_IT_RISING;
  GPIO_InitStruct.Pull = GPIO_NOPULL;
  HAL_GPIO_Init(ARD_D3_GPIO_Port, &GPIO_InitStruct);

  /*Configure GPIO pin : ARD_D6_Pin */
  GPIO_InitStruct.Pin = ARD_D6_Pin;
  GPIO_InitStruct.Mode = GPIO_MODE_ANALOG_ADC_CONTROL;
  GPIO_InitStruct.Pull = GPIO_NOPULL;
  HAL_GPIO_Init(ARD_D6_GPIO_Port, &GPIO_InitStruct);

  /*Configure GPIO pins : ARD_D8_Pin ISM43362_BOOT0_Pin ISM43362_WAKEUP_Pin LED2_Pin
                           SPSGRF_915_SDN_Pin ARD_D5_Pin SPSGRF_915_SPI3_CSN_Pin */
  GPIO_InitStruct.Pin = ARD_D8_Pin|ISM43362_BOOT0_Pin|ISM43362_WAKEUP_Pin|LED2_Pin
                          |SPSGRF_915_SDN_Pin|ARD_D5_Pin|SPSGRF_915_SPI3_CSN_Pin;
  GPIO_InitStruct.Mode = GPIO_MODE_OUTPUT_PP;
  GPIO_InitStruct.Pull = GPIO_NOPULL;
  GPIO_InitStruct.Speed = GPIO_SPEED_FREQ_LOW;
  HAL_GPIO_Init(GPIOB, &GPIO_InitStruct);

  /*Configure GPIO pins : LPS22HB_INT_DRDY_EXTI0_Pin LSM6DSL_INT1_EXTI11_Pin ARD_D2_Pin HTS221_DRDY_EXTI15_Pin
                           PMOD_IRQ_EXTI12_Pin */
  GPIO_InitStruct.Pin = LPS22HB_INT_DRDY_EXTI0_Pin|LSM6DSL_INT1_EXTI11_Pin|ARD_D2_Pin|HTS221_DRDY_EXTI15_Pin
                          |PMOD_IRQ_EXTI12_Pin;
  GPIO_InitStruct.Mode = GPIO_MODE_IT_RISING;
  GPIO_InitStruct.Pull = GPIO_NOPULL;
  HAL_GPIO_Init(GPIOD, &GPIO_InitStruct);

  /*Configure GPIO pins : USB_OTG_FS_PWR_EN_Pin SPBTLE_RF_SPI3_CSN_Pin PMOD_RESET_Pin STSAFE_A100_RESET_Pin */
  GPIO_InitStruct.Pin = USB_OTG_FS_PWR_EN_Pin|SPBTLE_RF_SPI3_CSN_Pin|PMOD_RESET_Pin|STSAFE_A100_RESET_Pin;
  GPIO_InitStruct.Mode = GPIO_MODE_OUTPUT_PP;
  GPIO_InitStruct.Pull = GPIO_NOPULL;
  GPIO_InitStruct.Speed = GPIO_SPEED_FREQ_LOW;
  HAL_GPIO_Init(GPIOD, &GPIO_InitStruct);

  /*Configure GPIO pins : VL53L0X_XSHUT_Pin LED3_WIFI__LED4_BLE_Pin */
  GPIO_InitStruct.Pin = VL53L0X_XSHUT_Pin|LED3_WIFI__LED4_BLE_Pin;
  GPIO_InitStruct.Mode = GPIO_MODE_OUTPUT_PP;
  GPIO_InitStruct.Pull = GPIO_NOPULL;
  GPIO_InitStruct.Speed = GPIO_SPEED_FREQ_LOW;
  HAL_GPIO_Init(GPIOC, &GPIO_InitStruct);

  /*Configure GPIO pins : VL53L0X_GPIO1_EXTI7_Pin LSM3MDL_DRDY_EXTI8_Pin */
  GPIO_InitStruct.Pin = VL53L0X_GPIO1_EXTI7_Pin|LSM3MDL_DRDY_EXTI8_Pin;
  GPIO_InitStruct.Mode = GPIO_MODE_IT_RISING;
  GPIO_InitStruct.Pull = GPIO_NOPULL;
  HAL_GPIO_Init(GPIOC, &GPIO_InitStruct);

  /*Configure GPIO pin : PMOD_SPI2_SCK_Pin */
  GPIO_InitStruct.Pin = PMOD_SPI2_SCK_Pin;
  GPIO_InitStruct.Mode = GPIO_MODE_AF_PP;
  GPIO_InitStruct.Pull = GPIO_NOPULL;
  GPIO_InitStruct.Speed = GPIO_SPEED_FREQ_VERY_HIGH;
  GPIO_InitStruct.Alternate = GPIO_AF5_SPI2;
  HAL_GPIO_Init(PMOD_SPI2_SCK_GPIO_Port, &GPIO_InitStruct);

  /*Configure GPIO pins : PMOD_UART2_CTS_Pin PMOD_UART2_RTS_Pin PMOD_UART2_TX_Pin PMOD_UART2_RX_Pin */
  GPIO_InitStruct.Pin = PMOD_UART2_CTS_Pin|PMOD_UART2_RTS_Pin|PMOD_UART2_TX_Pin|PMOD_UART2_RX_Pin;
  GPIO_InitStruct.Mode = GPIO_MODE_AF_PP;
  GPIO_InitStruct.Pull = GPIO_NOPULL;
  GPIO_InitStruct.Speed = GPIO_SPEED_FREQ_VERY_HIGH;
  GPIO_InitStruct.Alternate = GPIO_AF7_USART2;
  HAL_GPIO_Init(GPIOD, &GPIO_InitStruct);

  /*Configure GPIO pins : ARD_D15_Pin ARD_D14_Pin */
  GPIO_InitStruct.Pin = ARD_D15_Pin|ARD_D14_Pin;
  GPIO_InitStruct.Mode = GPIO_MODE_AF_OD;
  GPIO_InitStruct.Pull = GPIO_NOPULL;
  GPIO_InitStruct.Speed = GPIO_SPEED_FREQ_VERY_HIGH;
  GPIO_InitStruct.Alternate = GPIO_AF4_I2C1;
  HAL_GPIO_Init(GPIOB, &GPIO_InitStruct);

  /* EXTI interrupt init*/
  HAL_NVIC_SetPriority(EXTI9_5_IRQn, 0, 0);
  HAL_NVIC_EnableIRQ(EXTI9_5_IRQn);

  HAL_NVIC_SetPriority(EXTI15_10_IRQn, 0, 0);
  HAL_NVIC_EnableIRQ(EXTI15_10_IRQn);

}

void Error_Handler(void)
{
  __disable_irq();
  while (1)
  {
  }
}
